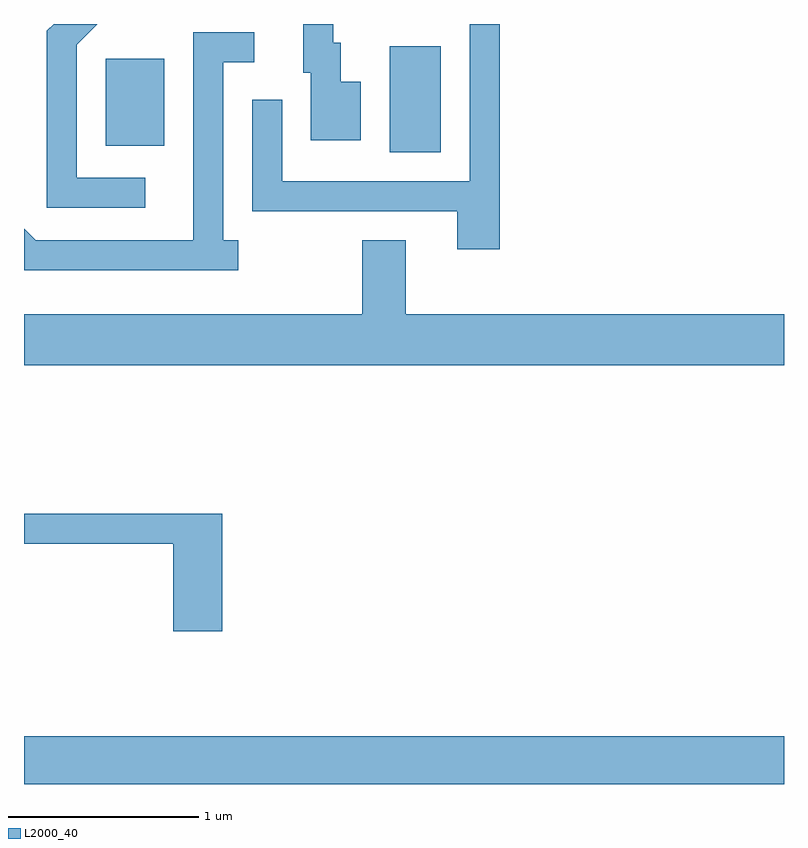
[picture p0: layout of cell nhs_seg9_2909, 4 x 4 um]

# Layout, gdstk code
import gdstk
lib = gdstk.Library(unit=1e-6, precision=1e-09)
def R(c, l, rs):  # rectangles x0, y0, x1, y1
    for r in rs: c.add(gdstk.rectangle(r[:2], r[2:], *l))
def P(c, l, *ps):  # polygons
    for p in ps: c.add(gdstk.Polygon(p, *l))
L2000_40 = (2000, 40)

nhs_seg9_2909 = lib.new_cell('nhs_seg9_2909')
R(nhs_seg9_2909, L2000_40, [(269.611,2058.432,273.611,2058.684), (271.536,2061.756,271.804,2062.314), (270.041,2061.791,270.349,2062.249)])
P(nhs_seg9_2909, L2000_40, [(272.114,2062.432),(271.956,2062.432),(271.956,2061.604),(270.969,2061.604),(270.969,2062.033),(270.811,2062.033),(270.811,2061.446),(271.891,2061.446),(271.891,2061.246),(272.114,2061.246)],
  [(270.248,2061.624),(269.889,2061.624),(269.889,2062.324),(269.997,2062.432),(269.767,2062.432),(269.731,2062.396),(269.731,2061.466),(270.248,2061.466)],
  [(271.384,2062.129),(271.279,2062.129),(271.279,2062.334),(271.239,2062.334),(271.239,2062.432),(271.081,2062.432),(271.081,2062.176),(271.121,2062.176),(271.121,2061.821),(271.384,2061.821)],
  [(270.738,2061.294),(270.659,2061.294),(270.659,2062.231),(270.823,2062.231),(270.823,2062.389),(270.501,2062.389),(270.501,2061.294),(269.672,2061.294),(269.611,2061.355),(269.611,2061.136),(270.738,2061.136)],
  [(273.611,2060.904),(271.619,2060.904),(271.619,2061.294),(271.391,2061.294),(271.391,2060.904),(269.611,2060.904),(269.611,2060.636),(273.611,2060.636)],
  [(270.654,2059.854),(269.611,2059.854),(269.611,2059.696),(270.396,2059.696),(270.396,2059.236),(270.654,2059.236)])

lib.write_gds('nhs_seg9_2909.gds')
